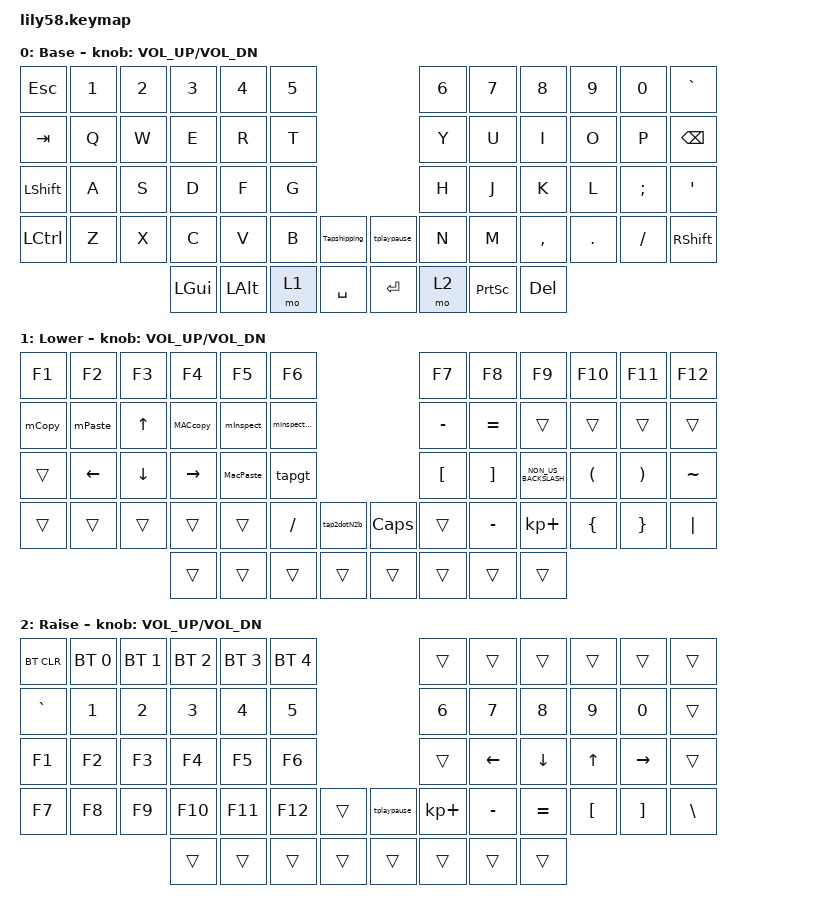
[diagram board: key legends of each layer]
/*
 * Copyright (c) 2020 The ZMK Contributors
 *
 * SPDX-License-Identifier: MIT
 */

#include <behaviors.dtsi>
#include <dt-bindings/zmk/bt.h>
#include <dt-bindings/zmk/keys.h>

/ {
    macros {
        mCopy: mCopy {
            compatible = "zmk,behavior-macro";
            #binding-cells = <0>;
            bindings = <&kp LC(C)>;
            label = "MCOPY";
        };

        mPaste: mPaste {
            compatible = "zmk,behavior-macro";
            #binding-cells = <0>;
            bindings = <&kp LC(V)>;
            label = "MPASTE";
        };

        mInspect: mInspect {
            compatible = "zmk,behavior-macro";
            #binding-cells = <0>;
            bindings = <&kp LS(LC(J))>;
            label = "MINSPECT";
        };

        mInspectClear: mInspectClear {
            compatible = "zmk,behavior-macro";
            #binding-cells = <0>;
            bindings = <&kp LC(L)>;
            label = "MINSPECTCLEAR";
        };

        mdeac: mdeac {
            compatible = "zmk,behavior-macro";
            #binding-cells = <0>;
            bindings = <&kp AT_SIGN &kp D &kp E>;
            label = "MDEAC";
        };

        mFastD: mFastD {
            compatible = "zmk,behavior-macro";
            #binding-cells = <0>;
            bindings = <&kp AT_SIGN &kp F &kp D>;
            label = "MFASTD";
        };

        m2b: m2b {
            compatible = "zmk,behavior-macro";
            #binding-cells = <0>;
            bindings = <&kp FSLH &kp N2 &kp B &kp DOT>;
            label = "M2B";
        };

        m2dot: m2dot {
            compatible = "zmk,behavior-macro";
            #binding-cells = <0>;
            bindings = <&kp FSLH &kp N2 &kp DOT>;
            label = "M2DOT";
        };

        mGt: mGt {
            compatible = "zmk,behavior-macro";
            #binding-cells = <0>;
            bindings = <&kp AT_SIGN &kp G &kp T>;
            label = "MGT";
        };

        MACcopy: MACcopy {
            compatible = "zmk,behavior-macro";
            #binding-cells = <0>;
            bindings = <&kp LG(C)>;
            label = "MACCOPY";
        };

        MacPaste: MacPaste {
            compatible = "zmk,behavior-macro";
            #binding-cells = <0>;
            bindings = <&kp LG(V)>;
            label = "MACPASTE";
        };

        mGT1: mGT2 {
            compatible = "zmk,behavior-macro";
            #binding-cells = <0>;
            bindings = <&kp AT_SIGN &kp G &kp T &kp NUMBER_1>;
            label = "MGT2";
        };
    };

    behaviors {
        Tapshipping: Tapshipping {
            compatible = "zmk,behavior-tap-dance";
            label = "TAPSHIPPING";
            #binding-cells = <0>;
            bindings = <&mdeac>, <&mFastD>;
        };

        tap2dotN2b: tap2dotN2b {
            compatible = "zmk,behavior-tap-dance";
            label = "TAP2DOTN2B";
            #binding-cells = <0>;
            bindings = <&m2dot>, <&m2b>;
        };

        tplaypause: tplaypause {
            compatible = "zmk,behavior-tap-dance";
            label = "TPLAYPAUSE";
            #binding-cells = <0>;
            bindings = <&kp C_PLAY_PAUSE>, <&kp C_NEXT>, <&kp C_PREVIOUS>;

            tapping-term-ms = <200>;
        };

        tapgt: tapgt {
            compatible = "zmk,behavior-tap-dance";
            label = "TAPGT";
            #binding-cells = <0>;
            bindings = <&mGt>, <&mGT1>;
        };
    };

    combos {
        compatible = "zmk,combos";

        entercombo {
            bindings = <&kp ENTER>;
            key-positions = <27 28>;
            layers = <1>;
        };
    };

    keymap {
        compatible = "zmk,keymap";

        default_layer {
            // ------------------------------------------------------------------------------------------------------------
            // |  ESC  |  1  |  2  |  3   |  4   |  5   |                   |  6   |  7    |  8    |  9   |   0   |   `   |
            // |  TAB  |  Q  |  W  |  E   |  R   |  T   |                   |  Y   |  U    |  I    |  O   |   P   |   -   |
            // |  CTRL |  A  |  S  |  D   |  F   |  G   |                   |  H   |  J    |  K    |  L   |   ;   |   '   |
            // | SHIFT |  Z  |  X  |  C   |  V   |  B   |   "["  |  |  "]"  |  N   |  M    |  ,    |  .   |   /   | SHIFT |
            //                     | ALT  | GUI  | LOWER|  SPACE |  | ENTER | RAISE| BSPC  | GUI   |

            label = "Base";
            bindings = <
&kp ESC         &kp N1  &kp N2  &kp N3        &kp N4        &kp N5                               &kp N6  &kp N7           &kp N8      &kp N9   &kp N0    &kp GRAVE
&kp TAB         &kp Q   &kp W   &kp E         &kp R         &kp T                                &kp Y   &kp U            &kp I       &kp O    &kp P     &kp BACKSPACE
&kp LEFT_SHIFT  &kp A   &kp S   &kp D         &kp F         &kp G                                &kp H   &kp J            &kp K       &kp L    &kp SEMI  &kp SQT
&kp LCTRL       &kp Z   &kp X   &kp C         &kp V         &kp B   &Tapshipping    &tplaypause  &kp N   &kp M            &kp COMMA   &kp DOT  &kp FSLH  &kp RSHFT
                                &kp LEFT_GUI  &kp LEFT_ALT  &mo 1   &kp SPACE       &kp RET      &mo 2   &kp PRINTSCREEN  &kp DELETE
            >;

            sensor-bindings = <&inc_dec_kp C_VOL_UP C_VOL_DN>;
        };

        lower_layer {
            // ------------------------------------------------------------------------------------------------------------
            // | BTCLR | BT1 | BT2 |  BT3 |  BT4 |  BT5 |                   |      |       |       |      |       |       |
            // |  F1   |  F2 |  F3 |  F4  |  F5  |  F6  |                   |  F7  |  F8   |  F9   |  F10 |  F11  |  F12  |
            // |   `   |  !  |  @  |  #   |  $   |  %   |                   |  ^   |  &    |  *    |  (   |   )   |   ~   |
            // |       |     |     |      |      |      |        |  |       |      |  _    |  +    |  {   |   }   |  "|"  |
            //                     |      |      |      |        |  |       |      |       |       |

            label = "Lower";
            bindings = <
&kp F1  &kp F2          &kp F3          &kp F4           &kp F5     &kp F6                                   &kp F7            &kp F8             &kp F9                &kp F10   &kp F11   &kp F12
&mCopy  &mPaste         &kp UP_ARROW    &MACcopy         &mInspect  &mInspectClear                           &kp MINUS         &kp EQUAL          &trans                &trans    &trans    &trans
&trans  &kp LEFT_ARROW  &kp DOWN_ARROW  &kp RIGHT_ARROW  &MacPaste  &tapgt                                   &kp LEFT_BRACKET  &kp RIGHT_BRACKET  &kp NON_US_BACKSLASH  &kp LPAR  &kp RPAR  &kp TILDE
&trans  &trans          &trans          &trans           &trans     &kp SLASH       &tap2dotN2b    &kp CAPS  &trans            &kp MINUS          &kp KP_PLUS           &kp LBRC  &kp RBRC  &kp PIPE
                                        &trans           &trans     &trans          &trans         &trans    &trans            &trans             &trans
            >;

            sensor-bindings = <&inc_dec_kp C_VOL_UP C_VOL_DN>;
        };

        raise_layer {
            // ------------------------------------------------------------------------------------------------------------
            // |       |     |     |      |      |      |                   |      |       |       |      |       |       |
            // |   `   |  1  |  2  |  3   |  4   |  5   |                   |  6   |   7   |   8   |  9   |   0   |       |
            // |   F1  |  F2 |  F3 |  F4  |  F5  |  F6  |                   |      |   <-  |   v   |  ^   |  ->   |       |
            // |   F7  |  F8 |  F9 |  F10 |  F11 |  F12 |        |  |       |  +   |   -   |   =   |  [   |   ]   |   \   |
            //                     |      |      |      |        |  |       |      |       |       |

            label = "Raise";
            bindings = <
&bt BT_CLR  &bt BT_SEL 0  &bt BT_SEL 1  &bt BT_SEL 2  &bt BT_SEL 3  &bt BT_SEL 4                         &trans       &trans     &trans     &trans    &trans     &trans
&kp GRAVE   &kp N1        &kp N2        &kp N3        &kp N4        &kp N5                               &kp N6       &kp N7     &kp N8     &kp N9    &kp N0     &trans
&kp F1      &kp F2        &kp F3        &kp F4        &kp F5        &kp F6                               &trans       &kp LEFT   &kp DOWN   &kp UP    &kp RIGHT  &trans
&kp F7      &kp F8        &kp F9        &kp F10       &kp F11       &kp F12       &trans    &tplaypause  &kp KP_PLUS  &kp MINUS  &kp EQUAL  &kp LBKT  &kp RBKT   &kp BSLH
                                        &trans        &trans        &trans        &trans    &trans       &trans       &trans     &trans
            >;

            sensor-bindings = <&inc_dec_kp C_VOL_UP C_VOL_DN>;
        };
    };
};
